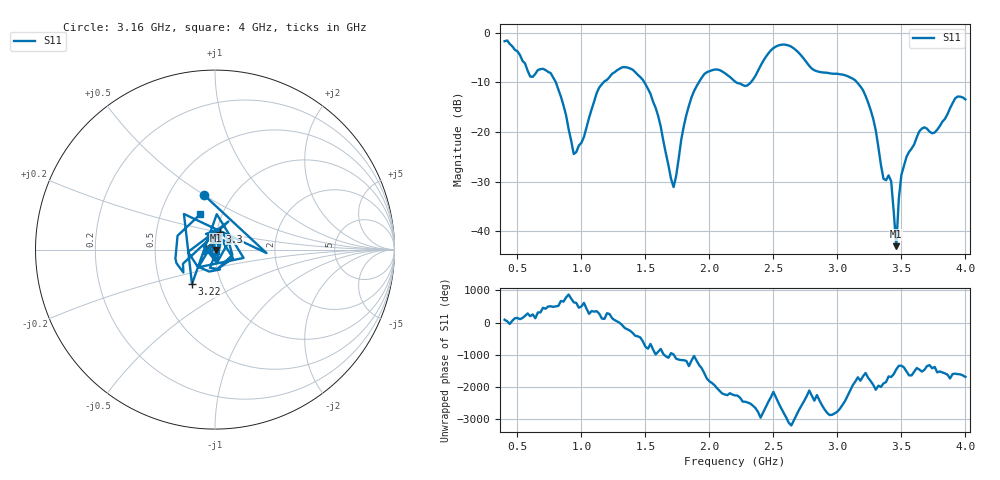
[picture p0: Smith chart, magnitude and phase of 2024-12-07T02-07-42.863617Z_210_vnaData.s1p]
!Created with skrf (http://scikit-rf.org).
# Hz S RI R 50.0
!freq ReS11 ImS11
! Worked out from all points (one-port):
!   181 points, 400 MHz to 4 GHz, reference 50 ohm
!   lowest |S11| = -43.0 dB at 3.46 GHz (marker M1), VSWR 1.01, Z = 50.7 - j0.15 ohm
!   |S11| at or under -10 dB: 800.5 MHz to 1.173 GHz (372.6 MHz wide, 37.8 % of centre); 1.492 GHz to 1.918 GHz (426 MHz wide, 25 % of centre); 3.153 GHz to end of sweep (the widest 3 of 4)
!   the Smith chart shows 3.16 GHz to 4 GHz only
!   S11 on the Smith chart (normalised r, x): 3.16 GHz: 0.74, +0.50; 3.22 GHz: 0.72, -0.29; 3.3 GHz: 1.03, +0.21; 4 GHz: 0.79, +0.32
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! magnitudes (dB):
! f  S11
! 400 MHz  -1.7
! 600 MHz  -8.8
! 760 MHz  -8.2
! 860 MHz  -14.7
! 940 MHz  -24.5
! 1.14 GHz  -11.0
! 1.3 GHz  -7.2
! 1.54 GHz  -12.3
! 1.72 GHz  -31.1
! 1.76 GHz  -25.4
! 1.84 GHz  -14.7
! 1.96 GHz  -8.3
! 2.2 GHz  -9.8
! 2.3 GHz  -10.6
! 2.52 GHz  -2.8
! 2.66 GHz  -3.2
! 3.1 GHz  -9.0
! 3.16 GHz  -10.2
! 3.22 GHz  -12.7
! 3.3 GHz  -19.7
! 3.36 GHz  -29.4
! 3.42 GHz  -29.9
! 3.46 GHz  -43.0
! 3.48 GHz  -33.4
! 3.5 GHz  -28.7
! 3.56 GHz  -24.0
! 3.66 GHz  -19.3
! 4 GHz  -13.4
